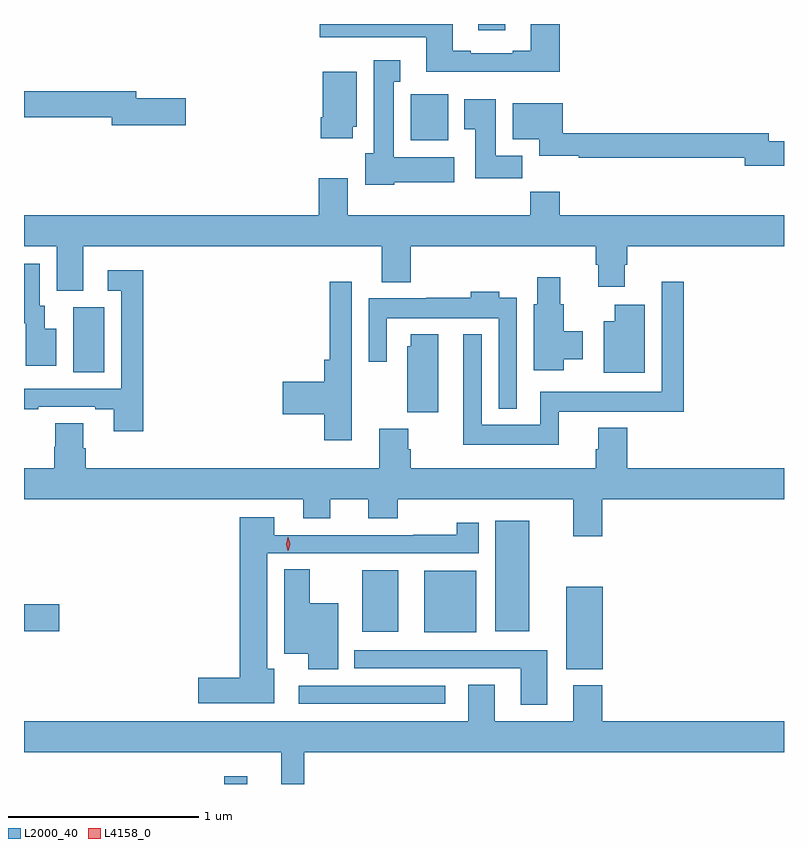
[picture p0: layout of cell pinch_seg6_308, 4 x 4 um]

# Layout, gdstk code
import gdstk
lib = gdstk.Library(unit=1e-6, precision=1e-09)
def R(c, l, rs):  # rectangles x0, y0, x1, y1
    for r in rs: c.add(gdstk.rectangle(r[:2], r[2:], *l))
def P(c, l, *ps):  # polygons
    for p in ps: c.add(gdstk.Polygon(p, *l))
L2000_40 = (2000, 40)
L4158_0 = (4158, 0)

pinch_seg6_308 = lib.new_cell('pinch_seg6_308')
R(pinch_seg6_308, L2000_40, [(648.564,965.818,648.685,965.86), (648.954,966.24,649.726,966.336), (650.363,966.422,650.554,966.856), (649.616,966.617,649.888,966.94), (649.289,966.62,649.48,966.943), (647.509,966.622,647.695,966.764), (649.988,966.623,650.167,967.204), (647.768,967.984,647.932,968.328), (649.544,969.206,649.741,969.448), (649.901,969.786,650.041,969.818)])
P(pinch_seg6_308, L2000_40, [(650.33,969.818),(650.177,969.818),(650.177,969.676),(650.081,969.676),(650.081,969.663),(649.861,969.663),(649.861,969.676),(649.765,969.676),(649.765,969.818),(649.065,969.818),(649.065,969.747),(649.625,969.747),(649.625,969.566),(650.33,969.566)],
  [(649.458,968.984),(649.774,968.984),(649.774,969.118),(649.456,969.118),(649.456,969.515),(649.489,969.515),(649.489,969.628),(649.349,969.628),(649.349,969.138),(649.304,969.138),(649.304,968.972),(649.458,968.972)],
  [(649.24,969.276),(649.261,969.276),(649.261,969.568),(649.082,969.568),(649.082,969.328),(649.07,969.328),(649.07,969.216),(649.24,969.216)],
  [(648.361,969.428),(648.1,969.428),(648.1,969.464),(647.509,969.464),(647.509,969.328),(647.972,969.328),(647.972,969.286),(648.361,969.286)],
  [(650.132,969.124),(649.993,969.124),(649.993,969.421),(649.826,969.421),(649.826,969.265),(649.883,969.265),(649.883,969.006),(650.132,969.006)],
  [(651.509,969.201),(651.43,969.201),(651.43,969.242),(650.345,969.242),(650.345,969.4),(650.081,969.4),(650.081,969.212),(650.222,969.212),(650.222,969.125),(650.428,969.125),(650.428,969.114),(651.302,969.114),(651.302,969.071),(651.509,969.071)],
  [(650.33,968.936),(650.173,968.936),(650.173,968.812),(649.213,968.812),(649.213,969.007),(649.061,969.007),(649.061,968.812),(647.509,968.812),(647.509,968.648),(647.681,968.648),(647.681,968.413),(647.821,968.413),(647.821,968.648),(649.391,968.648),(649.391,968.459),(649.544,968.459),(649.544,968.648),(650.519,968.648),(650.519,968.55),(650.531,968.55),(650.531,968.436),(650.671,968.436),(650.671,968.55),(650.684,968.55),(650.684,968.648),(651.509,968.648),(651.509,968.812),(650.33,968.812)],
  [(647.68,968.215),(647.617,968.215),(647.617,968.334),(647.592,968.334),(647.592,968.556),(647.509,968.556),(647.509,968.244),(647.519,968.244),(647.519,968.019),(647.68,968.019)],
  [(648.137,968.521),(647.949,968.521),(647.949,968.415),(648.021,968.415),(648.021,967.899),(647.509,967.899),(647.509,967.791),(647.585,967.791),(647.585,967.803),(647.885,967.803),(647.885,967.791),(647.981,967.791),(647.981,967.674),(648.137,967.674)],
  [(650.35,968.054),(650.449,968.054),(650.449,968.202),(650.35,968.202),(650.35,968.343),(650.332,968.343),(650.332,968.485),(650.21,968.485),(650.21,968.343),(650.192,968.343),(650.192,967.995),(650.35,967.995)],
  [(650.324,967.778),(650.858,967.778),(650.858,967.776),(650.981,967.776),(650.981,968.461),(650.865,968.461),(650.865,967.882),(650.226,967.882),(650.226,967.708),(649.917,967.708),(649.917,968.185),(649.82,968.185),(649.82,967.604),(650.324,967.604)],
  [(649.234,967.917),(649.233,967.917),(649.233,968.461),(649.117,968.461),(649.117,968.05),(649.088,968.05),(649.088,967.934),(648.87,967.934),(648.87,967.763),(649.088,967.763),(649.088,967.626),(649.234,967.626)],
  [(650.103,968.377),(650.011,968.377),(650.011,968.41),(649.859,968.41),(649.859,968.377),(649.627,968.377),(649.627,968.374),(649.323,968.374),(649.323,968.04),(649.419,968.04),(649.419,968.27),(650.007,968.27),(650.007,967.793),(650.103,967.793)],
  [(650.776,968.341),(650.618,968.341),(650.618,968.254),(650.561,968.254),(650.561,967.982),(650.776,967.982)],
  [(649.69,968.185),(649.544,968.185),(649.544,968.121),(649.526,968.121),(649.526,967.774),(649.69,967.774)],
  [(650.552,967.316),(651.509,967.316),(651.509,967.48),(650.684,967.48),(650.684,967.693),(650.531,967.693),(650.531,967.581),(650.519,967.581),(650.519,967.48),(649.544,967.48),(649.544,967.58),(649.531,967.58),(649.531,967.689),(649.379,967.689),(649.379,967.48),(647.834,967.48),(647.834,967.586),(647.821,967.586),(647.821,967.718),(647.674,967.718),(647.674,967.593),(647.669,967.593),(647.669,967.48),(647.509,967.48),(647.509,967.316),(648.98,967.316),(648.98,967.217),(649.12,967.217),(649.12,967.316),(649.322,967.316),(649.322,967.217),(649.475,967.217),(649.475,967.316),(650.399,967.316),(650.399,967.122),(650.552,967.122)],
  [(648.826,966.424),(648.79,966.424),(648.79,967.032),(649.903,967.032),(649.903,967.192),(649.786,967.192),(649.786,967.13),(649.558,967.13),(649.558,967.128),(648.826,967.128),(648.826,967.222),(648.644,967.222),(648.644,966.377),(648.426,966.377),(648.426,966.242),(648.826,966.242)],
  [(649.162,966.769),(649.012,966.769),(649.012,966.947),(648.878,966.947),(648.878,966.503),(649.004,966.503),(649.004,966.421),(649.162,966.421)],
  [(650.263,966.522),(649.248,966.522),(649.248,966.426),(650.123,966.426),(650.123,966.234),(650.263,966.234)],
  [(648.985,965.984),(651.509,965.984),(651.509,966.148),(650.552,966.148),(650.552,966.337),(650.399,966.337),(650.399,966.148),(649.987,966.148),(649.987,966.341),(649.847,966.341),(649.847,966.148),(647.509,966.148),(647.509,965.984),(648.863,965.984),(648.863,965.818),(648.985,965.818)])
P(pinch_seg6_308, L4158_0, [(648.899,967.045),(648.898,967.046),(648.889,967.081),(648.898,967.117),(648.899,967.117),(648.899,967.117),(648.909,967.081),(648.899,967.046)])

lib.write_gds('pinch_seg6_308.gds')
